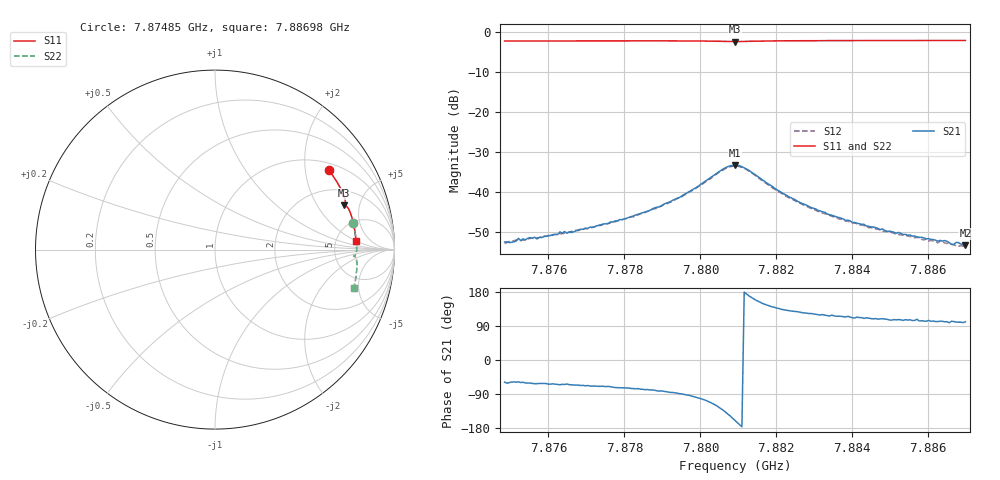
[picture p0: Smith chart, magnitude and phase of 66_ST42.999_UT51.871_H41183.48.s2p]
#  HZ  S  DB  R  50.00
! Rohde & Schwarz Vector Network Analyzer
! Rohde-Schwarz,ZNB20-2Port,1311601062101988,3.16
! Created: UTC 1/12/2023, 6:34:04 PM
! freq[Hz]  db:S11  ang:S11  db:S21  ang:S21  db:S12  ang:S12  db:S22  ang:S22
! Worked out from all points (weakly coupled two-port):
!   201 points, 7.87485 GHz to 7.88698 GHz, reference 50 ohm
!   highest |S21| = -33.26 dB at 7.88091 GHz (marker M1); lowest = -53.3 dB at 7.88698 GHz (marker M2)
!   lowest |S11| = -2.4 dB at 7.88091 GHz (marker M3), VSWR 7.41, Z = 150 + j178 ohm
!   |S11| at or under -10 dB: nowhere
!   |S22| runs from -2.2 to -1.9 dB; largest |S21 - S12| = 0.0014
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7.874846e9  -2.23 35.0  -52.43 -58.6  -52.82 -60.9  -2.14 11.0
7.875089e9  -2.23 34.3  -52.41 -57.9  -52.14 -62.5  -2.14 10.4
7.87521e9  -2.22 34.0  -51.51 -57.7  -51.88 -62.1  -2.13 10.0
7.87527e9  -2.22 33.8  -52.11 -59.4  -52.05 -62.0  -2.13 9.9
7.875513e9  -2.22 33.1  -51.33 -60.5  -51.53 -63.6  -2.12 9.3
7.875695e9  -2.21 32.6  -51.68 -62.4  -51.46 -65.4  -2.12 8.9
7.876302e9  -2.20 31.0  -49.92 -65.4  -50.37 -67.4  -2.10 7.5
7.876484e9  -2.20 30.5  -50.23 -63.3  -50.13 -69.3  -2.09 7.1
7.876908e9  -2.19 29.3  -49.26 -66.9  -49.32 -69.9  -2.08 6.1
7.878242e9  -2.18 25.7  -45.89 -75.4  -46.15 -78.9  -2.05 2.9
7.87891e9  -2.18 23.8  -43.70 -82.0  -43.61 -85.1  -2.05 1.4
7.879759e9  -2.20 21.4  -39.58 -95.0  -39.76 -98.1  -2.07 -0.8
7.880608e9  -2.32 19.2  -34.15 -133.1  -34.37 -136.5  -2.19 -2.7
7.880911e9  -2.36 19.0  -33.26 -159.4  -33.43 -162.6  -2.24 -2.7
7.881215e9  -2.31 18.8  -34.19 174.1  -34.34 170.6  -2.19 -2.7
7.882185e9  -2.16 16.2  -40.37 132.8  -40.61 130.1  -2.02 -4.8
7.882973e9  -2.13 14.0  -43.99 121.7  -44.29 117.9  -1.99 -6.7
7.883823e9  -2.11 11.7  -47.05 113.5  -47.19 111.0  -1.96 -8.7
7.884975e9  -2.10 8.6  -49.71 105.5  -49.93 104.2  -1.94 -11.2
7.886249e9  -2.08 5.3  -52.24 101.4  -52.66 99.4  -1.93 -14.0
7.886309e9  -2.08 5.2  -52.04 102.4  -52.23 98.0  -1.92 -14.1
7.886977e9  -2.07 3.4  -53.30 100.7  -53.26 94.6  -1.92 -15.5
